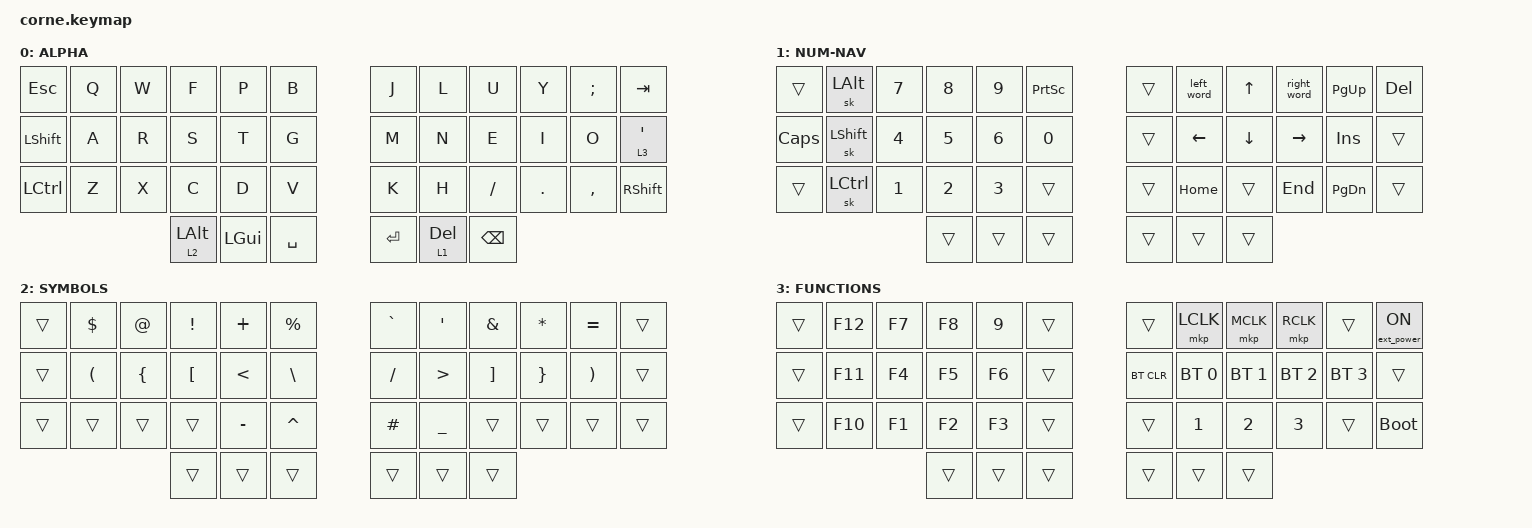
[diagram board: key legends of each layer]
/*
 * Copyright (c) 2020 The ZMK Contributors
 *
 * SPDX-License-Identifier: MIT
 */

#include <behaviors.dtsi>
#include <dt-bindings/zmk/bt.h>
#include <dt-bindings/zmk/rgb.h>
#include <dt-bindings/zmk/ext_power.h>
#include <dt-bindings/zmk/keys.h>
#include <dt-bindings/zmk/pointing.h>

/ {
    chosen { zmk,underglow = &led_strip; };
};

&led_strip { chain-length = <42>; };

/ {
    behaviors {
        hml: homerow_mods_left {
            compatible = "zmk,behavior-hold-tap";
            label = "HOMEROW_MODS_LEFT_HAND";
            bindings = <&kp>, <&kp>;

            #binding-cells = <2>;
            tapping-term-ms = <280>;
            hold-trigger-key-positions = <6 18 30 39 40 7 8 9 10 11 19 20 21 22 23 31 32 33 34 35 41>;
            quick-tap-ms = <175>;
            require-prior-idle-ms = <150>;
            flavor = "tap-preferred";
        };

        hmr: homerow_mods_right {
            compatible = "zmk,behavior-hold-tap";
            label = "HOMEROW_MODS_RIGHT_HAND";
            bindings = <&kp>, <&kp>;

            #binding-cells = <2>;
            tapping-term-ms = <280>;
            hold-trigger-key-positions = <0 1 2 3 4 5 12 13 14 15 16 17 24 25 26 27 28 29 36 37 38>;
            quick-tap-ms = <175>;
            require-prior-idle-ms = <150>;
            flavor = "tap-preferred";
        };
    };

    combos { compatible = "zmk,combos"; };

    macros {
        left_word: left_word {
            compatible = "zmk,behavior-macro";
            #binding-cells = <0>;
            bindings = <&kp LC(LEFT)>;
            label = "LEFT_WORD";
        };

        right_word: right_word {
            compatible = "zmk,behavior-macro";
            #binding-cells = <0>;
            bindings = <&kp LC(RIGHT)>;
            label = "RIGHT_WORD";
        };
    };

    keymap {
        compatible = "zmk,keymap";

        alpha {
            display-name = "ALPHA";

            bindings = <
&kp ESC    &kp Q  &kp W  &kp F           &kp P         &kp B        &kp J      &kp L      &kp U      &kp Y    &kp SEMICOLON  &kp TAB
&kp LSHFT  &kp A  &kp R  &kp S           &kp T         &kp G        &kp M      &kp N      &kp E      &kp I    &kp O          &lt 3 SQT
&kp LCTRL  &kp Z  &kp X  &kp C           &kp D         &kp V        &kp K      &kp H      &kp SLASH  &kp DOT  &kp COMMA      &kp RSHFT
                         &lt 2 LEFT_ALT  &kp LEFT_GUI  &kp SPACE    &kp ENTER  &lt 1 DEL  &kp BSPC
            >;
        };

        num-nav {
            display-name = "NUM-NAV";

            bindings = <
&trans    &sk LEFT_ALT  &kp N7        &kp N8        &kp N9        &kp PRINTSCREEN    &trans  &left_word      &kp UP    &right_word  &kp PAGE_UP    &kp DELETE
&kp CAPS  &sk LSHFT     &kp NUMBER_4  &kp N5        &kp NUMBER_6  &kp N0             &trans  &kp LEFT_ARROW  &kp DOWN  &kp RIGHT    &kp INS        &trans
&trans    &sk LCTRL     &kp NUMBER_1  &kp NUMBER_2  &kp NUMBER_3  &trans             &trans  &kp HOME        &trans    &kp END      &kp PAGE_DOWN  &trans
                                      &trans        &trans        &trans             &trans  &trans          &trans
            >;
        };

        sym {
            display-name = "SYMBOLS";
            bindings = <
&trans  &kp DLLR  &kp AT          &kp EXCL          &kp PLUS       &kp PERCENT      &kp GRAVE  &kp SINGLE_QUOTE  &kp AMPS           &kp ASTRK        &kp EQUAL  &trans
&trans  &kp LPAR  &kp LEFT_BRACE  &kp LEFT_BRACKET  &kp LESS_THAN  &kp BACKSLASH    &kp SLASH  &kp GT            &kp RIGHT_BRACKET  &kp RIGHT_BRACE  &kp RPAR   &trans
&trans  &trans    &trans          &trans            &kp MINUS      &kp CARET        &kp HASH   &kp UNDER         &trans             &trans           &trans     &trans
                                  &trans            &trans         &trans           &trans     &trans            &trans
            >;
        };

        fun {
            display-name = "FUNCTIONS";
            bindings = <
&trans  &kp F12  &kp F7  &kp F8  &kp N9  &trans    &trans      &mkp LCLK     &mkp MCLK     &mkp RCLK     &trans        &ext_power EP_ON
&trans  &kp F11  &kp F4  &kp F5  &kp F6  &trans    &bt BT_CLR  &bt BT_SEL 0  &bt BT_SEL 1  &bt BT_SEL 2  &bt BT_SEL 3  &trans
&trans  &kp F10  &kp F1  &kp F2  &kp F3  &trans    &trans      &kp NUMBER_1  &kp NUMBER_2  &kp NUMBER_3  &trans        &bootloader
                         &trans  &trans  &trans    &trans      &trans        &trans
            >;

            label = "FUNCTION";
        };
    };

    conditional_layers { compatible = "zmk,conditional-layers"; };
};
